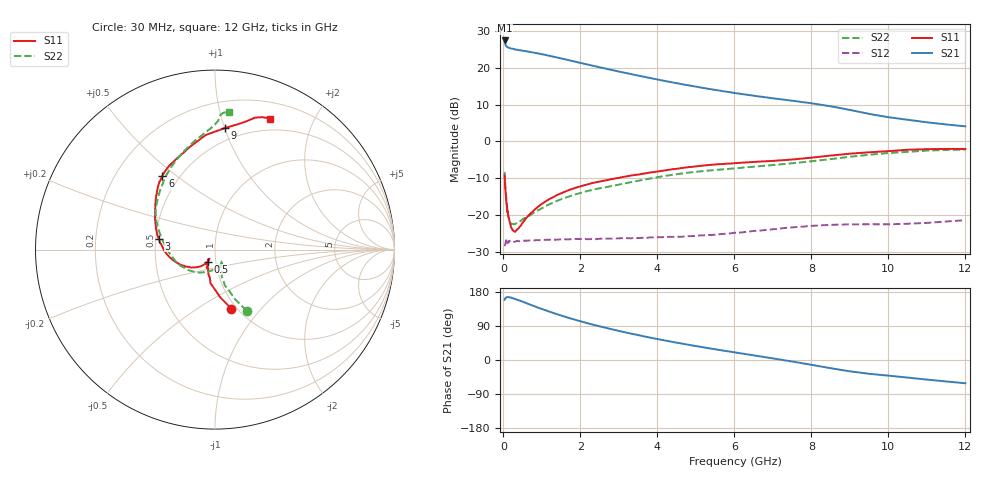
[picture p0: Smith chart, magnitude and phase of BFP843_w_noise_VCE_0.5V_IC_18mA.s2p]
! Infineon Technologies  Discrete & RF Semiconductors
! BFP843
! VCE =  0.5 V,  IC =  18 mA
! Common Emitter S-Parameters:  Aug 2013
# GHz  S  MA  R  50
!  f  S11  S21  S12  S22
! GHz  MAG  ANG  MAG  ANG  MAG  ANG  MAG  ANG
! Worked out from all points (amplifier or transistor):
!   103 points, 30 MHz to 12 GHz, reference 50 ohm
!   highest |S21| = 27.5 dB at 30 MHz (marker M1)
!   |S21| within 3 dB of that: start of sweep to 620.1 MHz
!   unconditionally stable (mu >= 1): 115.1 MHz to 11.77 GHz
!   at 400 MHz: K = 1.03, MAG = 25.0 dB, |S12| = -27.2 dB
!   at 3.7 GHz: K = 1.29, MAG = 18.7 dB, |S12| = -26.4 dB
!   at 12 GHz: K = 0.98, MSG = 12.8 dB, |S12| = -21.5 dB
!   lowest NFmin = 1.02 dB at 450 MHz
!   S11 on the Smith chart (normalised r, x): 30 MHz: 0.95, -0.71; 500 MHz: 0.92, -0.12; 3 GHz: 0.52, +0.07; 6 GHz: 0.41, +0.45; 9 GHz: 0.40, +1.00; 12 GHz: 0.37, +1.44
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0.03  0.3416 -74.4  23.65 158.9  0.0374 26.0  0.3837 -62.6
0.04  0.2661 -84.0  21.88 160.4  0.0387 20.3  0.2961 -68.1
0.05  0.2193 -90.6  20.94 163.1  0.04 12.4  0.24 -71.2
0.07  0.1605 -100.2  19.79 164.9  0.0452 15.1  0.1761 -74.6
0.13  0.0935 -116.9  18.95 166.1  0.0417 9.2  0.0949 -69.1
0.2  0.0672 -124.7  18.35 164.5  0.0425 8.4  0.0754 -60.7
0.5  0.0782 -120.4  17.17 153.8  0.0444 4.2  0.0871 -66.8
0.9  0.1289 -132.6  15.73 138.2  0.0452 3.5  0.1149 -96.3
1.2  0.1647 -142.6  14.59 127.4  0.0458 3.3  0.1397 -115.3
1.6  0.2067 -155.5  13.1 114.1  0.0464 3.0  0.1702 -133.4
2.1  0.2525 -169.5  11.38 99.4  0.0469 1.7  0.2049 -152.1
2.5  0.2842 -179.5  10.19 88.8  0.0472 2.0  0.2296 -163.7
3  0.3187 169.0  8.925 76.7  0.0478 2.2  0.2575 -176.9
3.6  0.361 156.8  7.668 63.5  0.0486 1.8  0.2977 169.7
4.1  0.3957 147.5  6.795 53.4  0.0495 2.4  0.3321 160.8
4.9  0.4491 136.3  5.681 38.6  0.0513 3.5  0.3795 150.3
6  0.5044 125.5  4.563 20.3  0.0569 3.7  0.429 138.0
6.1  0.5084 124.8  4.484 18.6  0.0572 3.8  0.4331 136.7
8.5  0.6405 94.6  3.002 -21.6  0.073 -7.2  0.5732 107.8
9  0.6795 85.4  2.682 -29.9  0.0741 -10.7  0.6167 100.5
10.5  0.7685 73.1  1.967 -46.4  0.0755 -16.2  0.72 88.5
12  0.7882 67.3  1.6 -61.4  0.0844 -22.0  0.7724 84.4
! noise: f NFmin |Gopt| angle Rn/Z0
0.45  1.02  0.09  -173  0.03
0.9  1.03  0.1  -164  0.07
1.5  1.05  0.1  -156  0.14
1.9  1.06  0.1  -147  0.2
2.4  1.09  0.1  -134  0.26
3.5  1.13  0.09  -117  0.31
5.5  1.23  0.23  -112  0.38
10  1.81  0.51  -62  0.52
